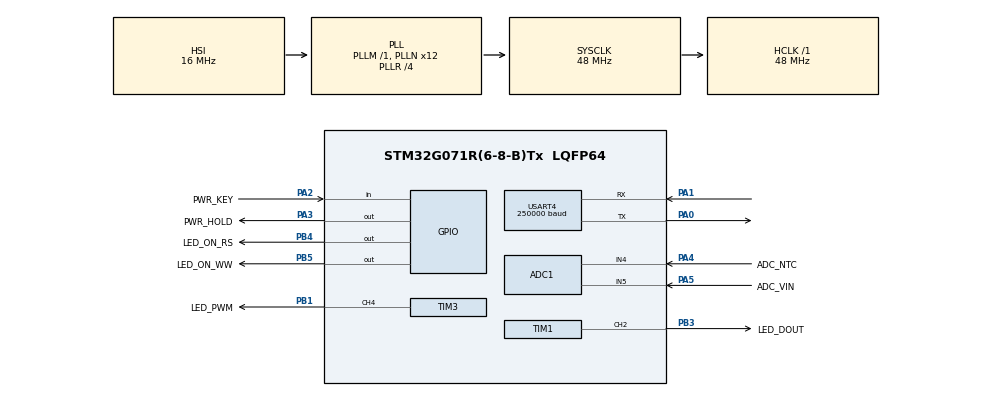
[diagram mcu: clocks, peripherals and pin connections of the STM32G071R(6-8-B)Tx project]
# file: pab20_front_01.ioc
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ADC1.Channel-0\#ChannelRegularConversion=ADC_CHANNEL_4
ADC1.NbrOfConversionFlag=1
ADC1.Rank-0\#ChannelRegularConversion=1
ADC1.SamplingTime-0\#ChannelRegularConversion=ADC_SAMPLINGTIME_COMMON_1
ADC1.SelectedChannel=ADC_CHANNEL_4|ADC_CHANNEL_5
ADC1.master=1
Dma.Request0=TIM1_CH2
Dma.TIM1_CH2.0.Direction=DMA_MEMORY_TO_PERIPH
Dma.TIM1_CH2.0.EventEnable=DISABLE
Dma.TIM1_CH2.0.Instance=DMA1_Channel1
Dma.TIM1_CH2.0.MemDataAlignment=DMA_MDATAALIGN_BYTE
Dma.TIM1_CH2.0.MemInc=DMA_MINC_ENABLE
Dma.TIM1_CH2.0.Mode=DMA_NORMAL
Dma.TIM1_CH2.0.PeriphDataAlignment=DMA_PDATAALIGN_HALFWORD
Dma.TIM1_CH2.0.PeriphInc=DMA_PINC_DISABLE
Dma.TIM1_CH2.0.Polarity=HAL_DMAMUX_REQ_GEN_RISING
Dma.TIM1_CH2.0.Priority=DMA_PRIORITY_LOW
Dma.TIM1_CH2.0.RequestNumber=1
Dma.TIM1_CH2.0.SignalID=NONE
Dma.TIM1_CH2.0.SyncEnable=DISABLE
Dma.TIM1_CH2.0.SyncPolarity=HAL_DMAMUX_SYNC_NO_EVENT
Dma.TIM1_CH2.0.SyncRequestNumber=1
Dma.TIM1_CH2.0.SyncSignalID=NONE
Mcu.Family=STM32G0
Mcu.Name=STM32G071R(6-8-B)Tx
Mcu.Package=LQFP64
NVIC.DMA1_Channel1_IRQn=true\:0\:0\:false\:false\:true\:false\:true\:true
NimaLTD.I-CUBE-WS28XX.3.0.1.DriverJjWS28XX=true
PA0.Mode=Asynchronous
PA0.Signal=USART4_TX
PA1.Mode=Asynchronous
PA1.Signal=USART4_RX
PA13.GPIO_Label=TMS
PA13.Mode=Serial_Wire
PA13.Signal=SYS_SWDIO
PA14-BOOT0.GPIO_Label=TCK
PA14-BOOT0.Mode=Serial_Wire
PA14-BOOT0.Signal=SYS_SWCLK
PA2.GPIO_Label=PWR_KEY
PA2.Signal=GPIO_Input
PA3.GPIO_Label=PWR_HOLD
PA3.PinState=GPIO_PIN_SET
PA3.Signal=GPIO_Output
PA4.GPIO_Label=ADC_NTC
PA4.Mode=IN4
PA4.Signal=ADC1_IN4
PA5.GPIO_Label=ADC_VIN
PA5.Mode=IN5
PA5.Signal=ADC1_IN5
PB1.GPIO_Label=LED_PWM
PB1.Signal=S_TIM3_CH4
PB3.GPIO_Label=LED_DOUT
PB3.Signal=S_TIM1_CH2
PB4.GPIO_Label=LED_ON_RS
PB4.GPIO_PuPd=GPIO_PULLDOWN
PB4.PinState=GPIO_PIN_SET
PB4.Signal=GPIO_Output
PB5.GPIO_Label=LED_ON_WW
PB5.GPIO_PuPd=GPIO_PULLDOWN
PB5.PinState=GPIO_PIN_SET
PB5.Signal=GPIO_Output
PC13.GPIO_Label=KEY
PC13.Mode=SYS_WakeUp1
PC13.Signal=SYS_WKUP2
PC14-OSC32_IN\ (PC14).Signal=RCC_OSC32_IN
PC15-OSC32_OUT\ (PC15).Signal=RCC_OSC32_OUT
PF0-OSC_IN\ (PF0).GPIO_Label=MCO
PF0-OSC_IN\ (PF0).Signal=RCC_OSC_IN
ProjectManager.HeapSize=0x200
ProjectManager.StackSize=0x400
ProjectManager.TargetToolchain=STM32CubeIDE
RCC.ADCFreq_Value=48000000
RCC.AHBFreq_Value=48000000
RCC.APB1CLKDivider=RCC_HCLK_DIV2
RCC.CortexFreq_Value=48000000
RCC.EXTERNAL_CLOCK_VALUE=12288000
RCC.HCLKFreq_Value=48000000
RCC.HSE_VALUE=8000000
RCC.HSI_VALUE=16000000
RCC.LSE_VALUE=32768
RCC.PLLN=12
RCC.PLLR=RCC_PLLR_DIV4
RCC.SYSCLKFreq_VALUE=48000000
RCC.SYSCLKSource=RCC_SYSCLKSOURCE_PLLCLK
RCC.USART2CLockSelection=RCC_USART2CLKSOURCE_SYSCLK
RCC.VCOOutputFreq_Value=192000000
SH.S_TIM1_CH2.0=TIM1_CH2,PWM Generation2 CH2
SH.S_TIM3_CH4.0=TIM3_CH4,PWM Generation4 CH4
TIM1.Channel-PWM\ Generation2\ CH2=TIM_CHANNEL_2
TIM3.Channel-PWM\ Generation4\ CH4=TIM_CHANNEL_4
TIM3.Period=100-1
TIM3.Prescaler=48-1
USART4.BaudRate=250000
USART4.VirtualMode-Asynchronous=VM_ASYNC
VP_NimaLTD.I-CUBE-WS28XX_VS_DriverJjWS28XX_1.0.0_3.0.1.Mode=DriverJjWS28XX
VP_TIM1_VS_ClockSourceINT.Mode=Internal
board=NUCLEO-G071RB

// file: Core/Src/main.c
/* USER CODE BEGIN Header */
/**
  ******************************************************************************
  * @file           : main.c
  * @brief          : Main program body
  ******************************************************************************
  * @attention
  *
  * Copyright (c) 2026 STMicroelectronics.
  * All rights reserved.
  *
  * This software is licensed under terms that can be found in the LICENSE file
  * in the root directory of this software component.
  * If no LICENSE file comes with this software, it is provided AS-IS.
  *
  ******************************************************************************
  */
/* USER CODE END Header */
#include "main.h"
#include "adc.h"
#include "dma.h"
#include "tim.h"
#include "usart.h"
#include "gpio.h"

/* USER CODE BEGIN Includes */
#include "include.h"

/* USER CODE END Includes */

/* USER CODE BEGIN PV */
WS28XX_HandleTypeDef ws;
/* USER CODE END PV */

void SystemClock_Config(void);

int main(void)
{

  /* MCU Configuration--------------------------------------------------------*/

  /* Reset of all peripherals, Initializes the Flash interface and the Systick. */
  HAL_Init();

  /* Configure the system clock */
  SystemClock_Config();

  /* Initialize all configured peripherals */
  MX_GPIO_Init();
  MX_DMA_Init();
  MX_TIM1_Init();
  MX_ADC1_Init();
  MX_USART4_UART_Init();
  MX_TIM3_Init();
  /* USER CODE BEGIN 2 */

  //setup: https://www.youtube.com/watch?v=TBYatUxH6Ek
  #define LED_RGB_NUMBER 6
  #define LED_RGB_OFF 0
  #define LED_RGB_INFO_POWER 0x80
  #define LED_RGB_FULL_POWER 0xff

  #define MODE_OFF		0
  #define MODE_RS_FULL	1
  #define MODE_WW_FULL	2
  #define MODE_RS_MID	3
  #define MODE_WW_MID	4
  #define MODE_RSWW		5
  #define MODE_RGB		6

  #define LED_PWM_100	1000
  #define LED_PWM_50	500
  #define LED_PWM_0		0

  extern uint16_t color_cnt;

  int i = 0;
  uint16_t color = 0;
  uint8_t mode = MODE_OFF;
  uint8_t hart_beat = 0;

  WS28XX_Init(&ws, &htim1, 48, TIM_CHANNEL_2, LED_RGB_NUMBER);
  WS28XX_SetPixel_RGBW_565(&ws, 0, color, LED_RGB_OFF);

  TIM3->CCR4 = LED_PWM_0;
  HAL_TIM_PWM_Start(&htim3, TIM_CHANNEL_4);

  WS28XX_Update(&ws);

  printf("\r\r  PAB2.0 - Demo 0.2.3 (10.04.26)\r\r  \n");

  //mode = MODE_RS_FULL;
  LED_WW_OFF();
  LED_RS_OFF();
  PWR_HOLD_ON();
  while (PWR_KEY());
  printf("\rmode: %d\r\n", mode);

  core_tick_init();

  //while(1);
  /* USER CODE END 2 */

  /* Infinite loop */
  while (1)
  {

    /* USER CODE BEGIN 3 */

	  // true every 100ms
	  if (core_tick()){
		  //read_hardware();
		  hart_beat = (hart_beat + 1) % 14;

		  if (key_pressed_event() || (mode == 0)) {
			  //mode++;
			  mode = (mode + 1) % 7;

			  //printf("\rmode: %d\r\n", mode);
			  switch(mode){
			  case MODE_OFF:
				  printf("\rmode: %d MODE_OFF\r\n", mode);
				  TIM3->CCR4 = LED_PWM_0;
				  LED_RS_OFF();
				  LED_WW_OFF();
				  WS28XX_SetPixel_RGBW_565(&ws, 0, color, LED_RGB_OFF);
				  /*
				  for( i = 0; i < 7; i++){
					  WS28XX_SetPixel_RGBW_565(&ws, i, COLOR_RGB565_BLACK, LED_RGB_OFF);
				  }
				  */
				  WS28XX_Update(&ws);

				  printf("\rOFF\n");
				  PWR_HOLD_OFF();
				  while(1);

				  break;
			  case MODE_RS_FULL:
				  printf("\rmode: %d MODE_RS_FULL\r\n", mode);
				  TIM3->CCR4 = LED_PWM_100;
				  LED_RS_ON();
				  LED_WW_OFF();
				  break;
			  case MODE_WW_FULL:
				  printf("\rmode: %d MODE_WW_FULL\r\n", mode);
				  TIM3->CCR4 = LED_PWM_100;
				  LED_WW_ON();
				  LED_RS_OFF();
				  break;
			  case MODE_RS_MID:
				  printf("\rmode: %d MODE_RS_MID\r\n", mode);
				  TIM3->CCR4 = LED_PWM_50;
				  LED_RS_ON();
				  LED_WW_OFF();
				  break;
			  case MODE_WW_MID:
				  printf("\rmode: %d MODE_WW_MID\r\n", mode);
				  TIM3->CCR4 = LED_PWM_50;
				  LED_WW_ON();
				  LED_RS_OFF();
				  break;
			  case MODE_RSWW:
				  printf("\rmode: %d MODE_RSWW\r\n", mode);
				  TIM3->CCR4 = LED_PWM_100;
				  LED_RS_ON();
				  LED_WW_ON();
				  break;
			  case MODE_RGB:
				  printf("\rmode: %d MODE_RGB\r\n", mode);
				  TIM3->CCR4 = LED_PWM_0;
				  LED_RS_OFF();
				  LED_WW_OFF();
				  hart_beat = 0;
				  color_cnt = 0;
				  break;
			  }
		  }

		  if(mode != MODE_RGB){
			  /*
			  if(hart_beat == 0){
				  color = change_color();
				  WS28XX_SetPixel_RGBW_565(&ws, 0, color, LED_RGB_INFO_POWER);
			  }
			  else if((1 <= hart_beat) && (hart_beat <= 7)){
				  WS28XX_SetPixel_RGBW_565(&ws, hart_beat, color, LED_RGB_FULL_POWER);
			  }
			  else if((8 <= hart_beat) && (hart_beat <= 14)){
				  WS28XX_SetPixel_RGBW_565(&ws, hart_beat - 7, color, LED_RGB_OFF);
			  }
			  */
		  }
		  else if (hart_beat == 0){
			  color = change_color_rgb();
			  WS28XX_SetPixel_RGBW_565(&ws, 0, color, LED_RGB_FULL_POWER);
		  }

		  WS28XX_Update(&ws);
	  }

	  //LED_RS_TOGGLE();
	  //LED_WW_TOGGLE();

/*
	  WS28XX_SetPixel_RGBW_565(&ws, 0, c, LED_SIGNAL_POWER);

	  for( i = 1; i < 7; i++){
		  HAL_Delay(100);
		  WS28XX_SetPixel_RGBW_565(&ws, i, c, 255);
		  WS28XX_Update(&ws);
	  }
	  for( i = 1; i < 7; i++){
		  HAL_Delay(100);
		  WS28XX_SetPixel_RGBW_565(&ws, i, c, 0);
		  WS28XX_Update(&ws);
	  }
*/

  }
  /* USER CODE END 3 */
}

void SystemClock_Config(void)
{
  RCC_OscInitTypeDef RCC_OscInitStruct = {0};
  RCC_ClkInitTypeDef RCC_ClkInitStruct = {0};

  /** Configure the main internal regulator output voltage
  */
  HAL_PWREx_ControlVoltageScaling(PWR_REGULATOR_VOLTAGE_SCALE1);

  /** Initializes the RCC Oscillators according to the specified parameters
  * in the RCC_OscInitTypeDef structure.
  */
  RCC_OscInitStruct.OscillatorType = RCC_OSCILLATORTYPE_HSI;
  RCC_OscInitStruct.HSIState = RCC_HSI_ON;
  RCC_OscInitStruct.HSIDiv = RCC_HSI_DIV1;
  RCC_OscInitStruct.HSICalibrationValue = RCC_HSICALIBRATION_DEFAULT;
  RCC_OscInitStruct.PLL.PLLState = RCC_PLL_ON;
  RCC_OscInitStruct.PLL.PLLSource = RCC_PLLSOURCE_HSI;
  RCC_OscInitStruct.PLL.PLLM = RCC_PLLM_DIV1;
  RCC_OscInitStruct.PLL.PLLN = 12;
  RCC_OscInitStruct.PLL.PLLP = RCC_PLLP_DIV2;
  RCC_OscInitStruct.PLL.PLLQ = RCC_PLLQ_DIV2;
  RCC_OscInitStruct.PLL.PLLR = RCC_PLLR_DIV4;
  if (HAL_RCC_OscConfig(&RCC_OscInitStruct) != HAL_OK)
  {
    Error_Handler();
  }

  /** Initializes the CPU, AHB and APB buses clocks
  */
  RCC_ClkInitStruct.ClockType = RCC_CLOCKTYPE_HCLK|RCC_CLOCKTYPE_SYSCLK
                              |RCC_CLOCKTYPE_PCLK1;
  RCC_ClkInitStruct.SYSCLKSource = RCC_SYSCLKSOURCE_PLLCLK;
  RCC_ClkInitStruct.AHBCLKDivider = RCC_SYSCLK_DIV1;
  RCC_ClkInitStruct.APB1CLKDivider = RCC_HCLK_DIV2;

  if (HAL_RCC_ClockConfig(&RCC_ClkInitStruct, FLASH_LATENCY_1) != HAL_OK)
  {
    Error_Handler();
  }
}

void Error_Handler(void)
{
  __disable_irq();
  while (1)
  {
  }
}
